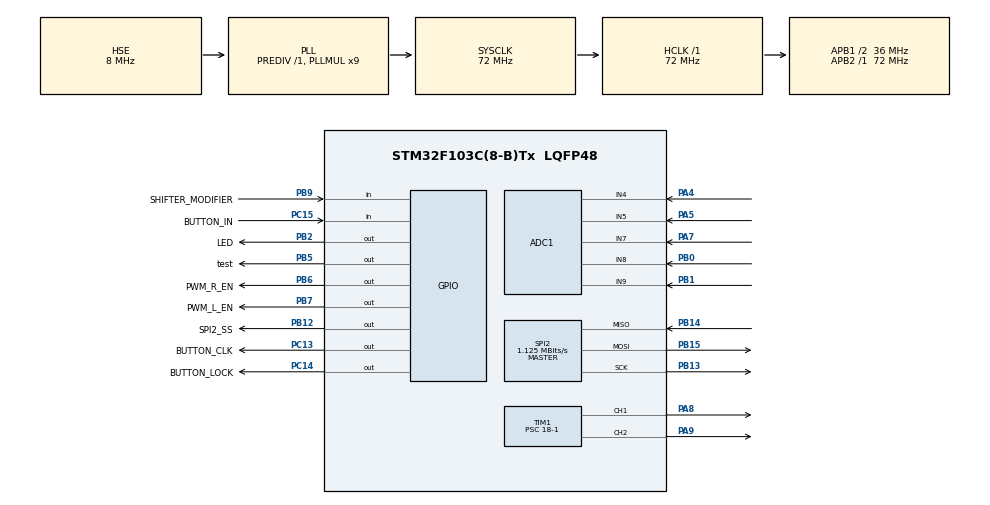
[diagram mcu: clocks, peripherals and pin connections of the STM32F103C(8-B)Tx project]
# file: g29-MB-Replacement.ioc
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ADC1.Channel-25\#ChannelRegularConversion=ADC_CHANNEL_7
ADC1.Channel-28\#ChannelRegularConversion=ADC_CHANNEL_8
ADC1.Channel-29\#ChannelRegularConversion=ADC_CHANNEL_9
ADC1.Channel-30\#ChannelRegularConversion=ADC_CHANNEL_4
ADC1.Channel-31\#ChannelRegularConversion=ADC_CHANNEL_5
ADC1.ContinuousConvMode=ENABLE
ADC1.DataAlign=ADC_DATAALIGN_LEFT
ADC1.EnableInjectedConversion=DISABLE
ADC1.ExternalTrigConv=ADC_SOFTWARE_START
ADC1.InjNumberOfConversion=2
ADC1.NbrOfConversion=5
ADC1.NbrOfConversionFlag=1
ADC1.Rank-25\#ChannelRegularConversion=1
ADC1.Rank-28\#ChannelRegularConversion=2
ADC1.Rank-29\#ChannelRegularConversion=3
ADC1.Rank-30\#ChannelRegularConversion=4
ADC1.Rank-31\#ChannelRegularConversion=5
ADC1.SamplingTime-25\#ChannelRegularConversion=ADC_SAMPLETIME_239CYCLES_5
ADC1.SamplingTime-28\#ChannelRegularConversion=ADC_SAMPLETIME_239CYCLES_5
ADC1.SamplingTime-29\#ChannelRegularConversion=ADC_SAMPLETIME_239CYCLES_5
ADC1.SamplingTime-30\#ChannelRegularConversion=ADC_SAMPLETIME_239CYCLES_5
ADC1.SamplingTime-31\#ChannelRegularConversion=ADC_SAMPLETIME_239CYCLES_5
ADC1.master=1
Dma.ADC1.2.Direction=DMA_PERIPH_TO_MEMORY
Dma.ADC1.2.Instance=DMA1_Channel1
Dma.ADC1.2.MemDataAlignment=DMA_MDATAALIGN_WORD
Dma.ADC1.2.MemInc=DMA_MINC_ENABLE
Dma.ADC1.2.Mode=DMA_CIRCULAR
Dma.ADC1.2.PeriphDataAlignment=DMA_PDATAALIGN_WORD
Dma.ADC1.2.PeriphInc=DMA_PINC_DISABLE
Dma.ADC1.2.Priority=DMA_PRIORITY_LOW
Dma.Request0=SPI2_RX
Dma.Request1=SPI2_TX
Dma.Request2=ADC1
Dma.SPI2_RX.0.Direction=DMA_PERIPH_TO_MEMORY
Dma.SPI2_RX.0.Instance=DMA1_Channel4
Dma.SPI2_RX.0.MemDataAlignment=DMA_MDATAALIGN_BYTE
Dma.SPI2_RX.0.MemInc=DMA_MINC_ENABLE
Dma.SPI2_RX.0.Mode=DMA_NORMAL
Dma.SPI2_RX.0.PeriphDataAlignment=DMA_PDATAALIGN_BYTE
Dma.SPI2_RX.0.PeriphInc=DMA_PINC_DISABLE
Dma.SPI2_RX.0.Priority=DMA_PRIORITY_HIGH
Dma.SPI2_TX.1.Direction=DMA_MEMORY_TO_PERIPH
Dma.SPI2_TX.1.Instance=DMA1_Channel5
Dma.SPI2_TX.1.MemDataAlignment=DMA_MDATAALIGN_BYTE
Dma.SPI2_TX.1.MemInc=DMA_MINC_ENABLE
Dma.SPI2_TX.1.Mode=DMA_NORMAL
Dma.SPI2_TX.1.PeriphDataAlignment=DMA_PDATAALIGN_BYTE
Dma.SPI2_TX.1.PeriphInc=DMA_PINC_DISABLE
Dma.SPI2_TX.1.Priority=DMA_PRIORITY_HIGH
Mcu.Family=STM32F1
Mcu.Name=STM32F103C(8-B)Tx
Mcu.Package=LQFP48
NVIC.DMA1_Channel1_IRQn=true\:10\:0\:true\:false\:true\:false\:true\:true
NVIC.DMA1_Channel4_IRQn=true\:3\:0\:true\:false\:true\:false\:true\:true
NVIC.DMA1_Channel5_IRQn=true\:3\:0\:true\:false\:true\:false\:true\:true
NVIC.PriorityGroup=NVIC_PRIORITYGROUP_4
NVIC.TIM3_IRQn=true\:6\:0\:true\:false\:true\:true\:true\:true
NVIC.TIM4_IRQn=true\:3\:0\:true\:false\:true\:true\:true\:true
PA11.GPIO_Label=USB_DM
PA11.Signal=USB_DM
PA12.GPIO_Label=USB_DP
PA12.Signal=USB_DP
PA13.Mode=Serial_Wire
PA13.Signal=SYS_JTMS-SWDIO
PA14.Mode=Serial_Wire
PA14.Signal=SYS_JTCK-SWCLK
PA4.Signal=ADCx_IN4
PA5.Signal=ADCx_IN5
PA7.Signal=ADCx_IN7
PA8.Signal=S_TIM1_CH1
PA9.Signal=S_TIM1_CH2
PB0.Signal=ADCx_IN8
PB1.Signal=ADCx_IN9
PB12.GPIO_Label=SPI2_SS
PB12.Signal=GPIO_Output
PB13.Mode=Full_Duplex_Master
PB13.Signal=SPI2_SCK
PB14.Mode=Full_Duplex_Master
PB14.Signal=SPI2_MISO
PB15.Mode=Full_Duplex_Master
PB15.Signal=SPI2_MOSI
PB2.GPIO_Label=LED
PB2.Signal=GPIO_Output
PB5.GPIO_Label=test
PB5.GPIO_Speed=GPIO_SPEED_FREQ_HIGH
PB5.Signal=GPIO_Output
PB6.GPIO_Label=PWM_R_EN
PB6.Signal=GPIO_Output
PB7.GPIO_Label=PWM_L_EN
PB7.Signal=GPIO_Output
PB9.GPIO_Label=SHIFTER_MODIFIER
PB9.GPIO_PuPd=GPIO_PULLDOWN
PB9.Signal=GPIO_Input
PC13-TAMPER-RTC.GPIO_Label=BUTTON_CLK
PC13-TAMPER-RTC.Signal=GPIO_Output
PC14-OSC32_IN.GPIO_Label=BUTTON_LOCK
PC14-OSC32_IN.Signal=GPIO_Output
PC15-OSC32_OUT.GPIO_Label=BUTTON_IN
PC15-OSC32_OUT.GPIO_PuPd=GPIO_PULLDOWN
PC15-OSC32_OUT.Signal=GPIO_Input
PD0-OSC_IN.Mode=HSE-External-Oscillator
PD0-OSC_IN.Signal=RCC_OSC_IN
PD1-OSC_OUT.Mode=HSE-External-Oscillator
PD1-OSC_OUT.Signal=RCC_OSC_OUT
ProjectManager.HeapSize=0x00
ProjectManager.StackSize=0x400
ProjectManager.TargetToolchain=STM32CubeIDE
RCC.ADCPresc=RCC_ADCPCLK2_DIV6
RCC.AHBFreq_Value=72000000
RCC.APB1CLKDivider=RCC_HCLK_DIV2
RCC.APB1Freq_Value=36000000
RCC.APB1TimFreq_Value=72000000
RCC.APB2Freq_Value=72000000
RCC.APB2TimFreq_Value=72000000
RCC.HCLKFreq_Value=72000000
RCC.PLLMUL=RCC_PLL_MUL9
RCC.PLLSourceVirtual=RCC_PLLSOURCE_HSE
RCC.SYSCLKFreq_VALUE=72000000
RCC.SYSCLKSource=RCC_SYSCLKSOURCE_PLLCLK
RCC.USBFreq_Value=48000000
RCC.USBPrescaler=RCC_USBCLKSOURCE_PLL_DIV1_5
SH.ADCx_IN4.0=ADC1_IN4,IN4
SH.ADCx_IN5.0=ADC1_IN5,IN5
SH.ADCx_IN7.0=ADC1_IN7,IN7
SH.ADCx_IN8.0=ADC1_IN8,IN8
SH.ADCx_IN9.0=ADC1_IN9,IN9
SH.S_TIM1_CH1.0=TIM1_CH1,PWM Generation1 CH1
SH.S_TIM1_CH2.0=TIM1_CH2,PWM Generation2 CH2
SPI2.BaudRatePrescaler=SPI_BAUDRATEPRESCALER_32
SPI2.CLKPhase=SPI_PHASE_2EDGE
SPI2.CalculateBaudRate=1.125 MBits/s
SPI2.Direction=SPI_DIRECTION_2LINES
SPI2.Mode=SPI_MODE_MASTER
SPI2.VirtualType=VM_MASTER
TIM1.Channel-PWM\ Generation1\ CH1=TIM_CHANNEL_1
TIM1.Channel-PWM\ Generation2\ CH2=TIM_CHANNEL_2
TIM1.Period=255-1
TIM1.Prescaler=18-1
TIM3.Period=1000
TIM3.Prescaler=72-1
TIM4.Period=1300
TIM4.Prescaler=72-1
VP_CRC_VS_CRC.Mode=CRC_Activate
VP_TIM1_VS_ClockSourceINT.Mode=Internal
VP_TIM3_VS_ClockSourceINT.Mode=Internal
VP_TIM4_VS_ClockSourceINT.Mode=Internal
board=custom

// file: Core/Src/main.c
/* USER CODE BEGIN Header */
/**
 ******************************************************************************
 * @file           : main.c
 * @brief          : Main program body
 ******************************************************************************
 * @attention
 *
 * Copyright (c) 2025 STMicroelectronics.
 * All rights reserved.
 *
 * This software is licensed under terms that can be found in the LICENSE file
 * in the root directory of this software component.
 * If no LICENSE file comes with this software, it is provided AS-IS.
 *
 ******************************************************************************
 */
/* USER CODE END Header */
#include "main.h"

/* USER CODE BEGIN Includes */
#include "wheel_def.h"
#include "wheel_log.h"
#include <stdio.h>
/* USER CODE END Includes */

ADC_HandleTypeDef hadc1;
DMA_HandleTypeDef hdma_adc1;

CRC_HandleTypeDef hcrc;

SPI_HandleTypeDef hspi2;
DMA_HandleTypeDef hdma_spi2_rx;
DMA_HandleTypeDef hdma_spi2_tx;

TIM_HandleTypeDef htim1;
TIM_HandleTypeDef htim3;
TIM_HandleTypeDef htim4;

/* USER CODE BEGIN PV */
extern uint32_t _estack;
/* USER CODE END PV */

void SystemClock_Config(void);
static void MX_GPIO_Init(void);
static void MX_DMA_Init(void);
static void MX_SPI2_Init(void);
static void MX_TIM4_Init(void);
static void MX_ADC1_Init(void);
static void MX_TIM3_Init(void);
static void MX_TIM1_Init(void);
static void MX_CRC_Init(void);
/* USER CODE BEGIN PFP */
extern void initialise_monitor_handles(void);
/* USER CODE END PFP */

int main(void)
{

  /* MCU Configuration--------------------------------------------------------*/

  /* Reset of all peripherals, Initializes the Flash interface and the Systick. */
  HAL_Init();

  /* Configure the system clock */
  SystemClock_Config();

  /* USER CODE BEGIN SysInit */
#ifdef DEBUG
  HAL_Delay(100);
  initialise_monitor_handles();
#endif
  /* USER CODE END SysInit */

  /* Initialize all configured peripherals */
  MX_GPIO_Init();
  MX_DMA_Init();
  MX_SPI2_Init();
  MX_TIM4_Init();
  MX_ADC1_Init();
  MX_TIM3_Init();
  MX_TIM1_Init();
  MX_CRC_Init();
  /* USER CODE BEGIN 2 */
  HAL_GPIO_WritePin(LED_GPIO_Port, LED_Pin, 1);
  wheel_startup();
  /* USER CODE END 2 */

  /* Infinite loop */
  /* USER CODE BEGIN WHILE */
  while (1) {
    wheel_task();
    /* USER CODE END WHILE */

  }
}

void SystemClock_Config(void)
{
  RCC_OscInitTypeDef RCC_OscInitStruct = {0};
  RCC_ClkInitTypeDef RCC_ClkInitStruct = {0};
  RCC_PeriphCLKInitTypeDef PeriphClkInit = {0};

  /** Initializes the RCC Oscillators according to the specified parameters
  * in the RCC_OscInitTypeDef structure.
  */
  RCC_OscInitStruct.OscillatorType = RCC_OSCILLATORTYPE_HSE;
  RCC_OscInitStruct.HSEState = RCC_HSE_ON;
  RCC_OscInitStruct.HSEPredivValue = RCC_HSE_PREDIV_DIV1;
  RCC_OscInitStruct.HSIState = RCC_HSI_ON;
  RCC_OscInitStruct.PLL.PLLState = RCC_PLL_ON;
  RCC_OscInitStruct.PLL.PLLSource = RCC_PLLSOURCE_HSE;
  RCC_OscInitStruct.PLL.PLLMUL = RCC_PLL_MUL9;
  if (HAL_RCC_OscConfig(&RCC_OscInitStruct) != HAL_OK)
  {
    Error_Handler();
  }

  /** Initializes the CPU, AHB and APB buses clocks
  */
  RCC_ClkInitStruct.ClockType = RCC_CLOCKTYPE_HCLK|RCC_CLOCKTYPE_SYSCLK
                              |RCC_CLOCKTYPE_PCLK1|RCC_CLOCKTYPE_PCLK2;
  RCC_ClkInitStruct.SYSCLKSource = RCC_SYSCLKSOURCE_PLLCLK;
  RCC_ClkInitStruct.AHBCLKDivider = RCC_SYSCLK_DIV1;
  RCC_ClkInitStruct.APB1CLKDivider = RCC_HCLK_DIV2;
  RCC_ClkInitStruct.APB2CLKDivider = RCC_HCLK_DIV1;

  if (HAL_RCC_ClockConfig(&RCC_ClkInitStruct, FLASH_LATENCY_2) != HAL_OK)
  {
    Error_Handler();
  }
  PeriphClkInit.PeriphClockSelection = RCC_PERIPHCLK_ADC;
  PeriphClkInit.AdcClockSelection = RCC_ADCPCLK2_DIV6;
  if (HAL_RCCEx_PeriphCLKConfig(&PeriphClkInit) != HAL_OK)
  {
    Error_Handler();
  }
}

static void MX_ADC1_Init(void)
{

  ADC_ChannelConfTypeDef sConfig = {0};

  /** Common config
  */
  hadc1.Instance = ADC1;
  hadc1.Init.ScanConvMode = ADC_SCAN_ENABLE;
  hadc1.Init.ContinuousConvMode = ENABLE;
  hadc1.Init.DiscontinuousConvMode = DISABLE;
  hadc1.Init.ExternalTrigConv = ADC_SOFTWARE_START;
  hadc1.Init.DataAlign = ADC_DATAALIGN_LEFT;
  hadc1.Init.NbrOfConversion = 5;
  if (HAL_ADC_Init(&hadc1) != HAL_OK)
  {
    Error_Handler();
  }

  /** Configure Regular Channel
  */
  sConfig.Channel = ADC_CHANNEL_7;
  sConfig.Rank = ADC_REGULAR_RANK_1;
  sConfig.SamplingTime = ADC_SAMPLETIME_239CYCLES_5;
  if (HAL_ADC_ConfigChannel(&hadc1, &sConfig) != HAL_OK)
  {
    Error_Handler();
  }

  /** Configure Regular Channel
  */
  sConfig.Channel = ADC_CHANNEL_8;
  sConfig.Rank = ADC_REGULAR_RANK_2;
  if (HAL_ADC_ConfigChannel(&hadc1, &sConfig) != HAL_OK)
  {
    Error_Handler();
  }

  /** Configure Regular Channel
  */
  sConfig.Channel = ADC_CHANNEL_9;
  sConfig.Rank = ADC_REGULAR_RANK_3;
  if (HAL_ADC_ConfigChannel(&hadc1, &sConfig) != HAL_OK)
  {
    Error_Handler();
  }

  /** Configure Regular Channel
  */
  sConfig.Channel = ADC_CHANNEL_4;
  sConfig.Rank = ADC_REGULAR_RANK_4;
  if (HAL_ADC_ConfigChannel(&hadc1, &sConfig) != HAL_OK)
  {
    Error_Handler();
  }

  /** Configure Regular Channel
  */
  sConfig.Channel = ADC_CHANNEL_5;
  sConfig.Rank = ADC_REGULAR_RANK_5;
  if (HAL_ADC_ConfigChannel(&hadc1, &sConfig) != HAL_OK)
  {
    Error_Handler();
  }

}

static void MX_CRC_Init(void)
{

  hcrc.Instance = CRC;
  if (HAL_CRC_Init(&hcrc) != HAL_OK)
  {
    Error_Handler();
  }

}

static void MX_SPI2_Init(void)
{

  /* SPI2 parameter configuration*/
  hspi2.Instance = SPI2;
  hspi2.Init.Mode = SPI_MODE_MASTER;
  hspi2.Init.Direction = SPI_DIRECTION_2LINES;
  hspi2.Init.DataSize = SPI_DATASIZE_8BIT;
  hspi2.Init.CLKPolarity = SPI_POLARITY_LOW;
  hspi2.Init.CLKPhase = SPI_PHASE_2EDGE;
  hspi2.Init.NSS = SPI_NSS_SOFT;
  hspi2.Init.BaudRatePrescaler = SPI_BAUDRATEPRESCALER_32;
  hspi2.Init.FirstBit = SPI_FIRSTBIT_MSB;
  hspi2.Init.TIMode = SPI_TIMODE_DISABLE;
  hspi2.Init.CRCCalculation = SPI_CRCCALCULATION_DISABLE;
  hspi2.Init.CRCPolynomial = 10;
  if (HAL_SPI_Init(&hspi2) != HAL_OK)
  {
    Error_Handler();
  }

}

static void MX_TIM1_Init(void)
{

  TIM_ClockConfigTypeDef sClockSourceConfig = {0};
  TIM_MasterConfigTypeDef sMasterConfig = {0};
  TIM_OC_InitTypeDef sConfigOC = {0};
  TIM_BreakDeadTimeConfigTypeDef sBreakDeadTimeConfig = {0};

  htim1.Instance = TIM1;
  htim1.Init.Prescaler = 18-1;
  htim1.Init.CounterMode = TIM_COUNTERMODE_UP;
  htim1.Init.Period = 255-1;
  htim1.Init.ClockDivision = TIM_CLOCKDIVISION_DIV1;
  htim1.Init.RepetitionCounter = 0;
  htim1.Init.AutoReloadPreload = TIM_AUTORELOAD_PRELOAD_DISABLE;
  if (HAL_TIM_Base_Init(&htim1) != HAL_OK)
  {
    Error_Handler();
  }
  sClockSourceConfig.ClockSource = TIM_CLOCKSOURCE_INTERNAL;
  if (HAL_TIM_ConfigClockSource(&htim1, &sClockSourceConfig) != HAL_OK)
  {
    Error_Handler();
  }
  if (HAL_TIM_PWM_Init(&htim1) != HAL_OK)
  {
    Error_Handler();
  }
  sMasterConfig.MasterOutputTrigger = TIM_TRGO_RESET;
  sMasterConfig.MasterSlaveMode = TIM_MASTERSLAVEMODE_DISABLE;
  if (HAL_TIMEx_MasterConfigSynchronization(&htim1, &sMasterConfig) != HAL_OK)
  {
    Error_Handler();
  }
  sConfigOC.OCMode = TIM_OCMODE_PWM1;
  sConfigOC.Pulse = 0;
  sConfigOC.OCPolarity = TIM_OCPOLARITY_HIGH;
  sConfigOC.OCNPolarity = TIM_OCNPOLARITY_HIGH;
  sConfigOC.OCFastMode = TIM_OCFAST_DISABLE;
  sConfigOC.OCIdleState = TIM_OCIDLESTATE_RESET;
  sConfigOC.OCNIdleState = TIM_OCNIDLESTATE_RESET;
  if (HAL_TIM_PWM_ConfigChannel(&htim1, &sConfigOC, TIM_CHANNEL_1) != HAL_OK)
  {
    Error_Handler();
  }
  if (HAL_TIM_PWM_ConfigChannel(&htim1, &sConfigOC, TIM_CHANNEL_2) != HAL_OK)
  {
    Error_Handler();
  }
  sBreakDeadTimeConfig.OffStateRunMode = TIM_OSSR_DISABLE;
  sBreakDeadTimeConfig.OffStateIDLEMode = TIM_OSSI_DISABLE;
  sBreakDeadTimeConfig.LockLevel = TIM_LOCKLEVEL_OFF;
  sBreakDeadTimeConfig.DeadTime = 0;
  sBreakDeadTimeConfig.BreakState = TIM_BREAK_DISABLE;
  sBreakDeadTimeConfig.BreakPolarity = TIM_BREAKPOLARITY_HIGH;
  sBreakDeadTimeConfig.AutomaticOutput = TIM_AUTOMATICOUTPUT_DISABLE;
  if (HAL_TIMEx_ConfigBreakDeadTime(&htim1, &sBreakDeadTimeConfig) != HAL_OK)
  {
    Error_Handler();
  }
  HAL_TIM_MspPostInit(&htim1);

}

static void MX_TIM3_Init(void)
{

  TIM_ClockConfigTypeDef sClockSourceConfig = {0};
  TIM_MasterConfigTypeDef sMasterConfig = {0};

  htim3.Instance = TIM3;
  htim3.Init.Prescaler = 72-1;
  htim3.Init.CounterMode = TIM_COUNTERMODE_UP;
  htim3.Init.Period = 1000;
  htim3.Init.ClockDivision = TIM_CLOCKDIVISION_DIV1;
  htim3.Init.AutoReloadPreload = TIM_AUTORELOAD_PRELOAD_DISABLE;
  if (HAL_TIM_Base_Init(&htim3) != HAL_OK)
  {
    Error_Handler();
  }
  sClockSourceConfig.ClockSource = TIM_CLOCKSOURCE_INTERNAL;
  if (HAL_TIM_ConfigClockSource(&htim3, &sClockSourceConfig) != HAL_OK)
  {
    Error_Handler();
  }
  sMasterConfig.MasterOutputTrigger = TIM_TRGO_RESET;
  sMasterConfig.MasterSlaveMode = TIM_MASTERSLAVEMODE_DISABLE;
  if (HAL_TIMEx_MasterConfigSynchronization(&htim3, &sMasterConfig) != HAL_OK)
  {
    Error_Handler();
  }
  /* USER CODE BEGIN TIM3_Init 2 */
  htim3.Init.Period = SAMPLE_TIME_US;
  if (HAL_TIM_Base_Init(&htim3) != HAL_OK) {
    Error_Handler();
  }
  /* USER CODE END TIM3_Init 2 */

}

static void MX_TIM4_Init(void)
{

  TIM_ClockConfigTypeDef sClockSourceConfig = {0};
  TIM_MasterConfigTypeDef sMasterConfig = {0};

  htim4.Instance = TIM4;
  htim4.Init.Prescaler = 72-1;
  htim4.Init.CounterMode = TIM_COUNTERMODE_UP;
  htim4.Init.Period = 1300;
  htim4.Init.ClockDivision = TIM_CLOCKDIVISION_DIV1;
  htim4.Init.AutoReloadPreload = TIM_AUTORELOAD_PRELOAD_DISABLE;
  if (HAL_TIM_Base_Init(&htim4) != HAL_OK)
  {
    Error_Handler();
  }
  sClockSourceConfig.ClockSource = TIM_CLOCKSOURCE_INTERNAL;
  if (HAL_TIM_ConfigClockSource(&htim4, &sClockSourceConfig) != HAL_OK)
  {
    Error_Handler();
  }
  sMasterConfig.MasterOutputTrigger = TIM_TRGO_RESET;
  sMasterConfig.MasterSlaveMode = TIM_MASTERSLAVEMODE_DISABLE;
  if (HAL_TIMEx_MasterConfigSynchronization(&htim4, &sMasterConfig) != HAL_OK)
  {
    Error_Handler();
  }

}

static void MX_DMA_Init(void)
{

  /* DMA controller clock enable */
  __HAL_RCC_DMA1_CLK_ENABLE();

  /* DMA interrupt init */
  /* DMA1_Channel1_IRQn interrupt configuration */
  HAL_NVIC_SetPriority(DMA1_Channel1_IRQn, 10, 0);
  HAL_NVIC_EnableIRQ(DMA1_Channel1_IRQn);
  /* DMA1_Channel4_IRQn interrupt configuration */
  HAL_NVIC_SetPriority(DMA1_Channel4_IRQn, 3, 0);
  HAL_NVIC_EnableIRQ(DMA1_Channel4_IRQn);
  /* DMA1_Channel5_IRQn interrupt configuration */
  HAL_NVIC_SetPriority(DMA1_Channel5_IRQn, 3, 0);
  HAL_NVIC_EnableIRQ(DMA1_Channel5_IRQn);

}

static void MX_GPIO_Init(void)
{
  GPIO_InitTypeDef GPIO_InitStruct = {0};

  /* GPIO Ports Clock Enable */
  __HAL_RCC_GPIOC_CLK_ENABLE();
  __HAL_RCC_GPIOD_CLK_ENABLE();
  __HAL_RCC_GPIOA_CLK_ENABLE();
  __HAL_RCC_GPIOB_CLK_ENABLE();

  /*Configure GPIO pin Output Level */
  HAL_GPIO_WritePin(GPIOC, BUTTON_CLK_Pin|BUTTON_LOCK_Pin, GPIO_PIN_RESET);

  /*Configure GPIO pin Output Level */
  HAL_GPIO_WritePin(GPIOB, LED_Pin|SPI2_SS_Pin|test_Pin|PWM_R_EN_Pin
                          |PWM_L_EN_Pin, GPIO_PIN_RESET);

  /*Configure GPIO pins : BUTTON_CLK_Pin BUTTON_LOCK_Pin */
  GPIO_InitStruct.Pin = BUTTON_CLK_Pin|BUTTON_LOCK_Pin;
  GPIO_InitStruct.Mode = GPIO_MODE_OUTPUT_PP;
  GPIO_InitStruct.Pull = GPIO_NOPULL;
  GPIO_InitStruct.Speed = GPIO_SPEED_FREQ_LOW;
  HAL_GPIO_Init(GPIOC, &GPIO_InitStruct);

  /*Configure GPIO pin : BUTTON_IN_Pin */
  GPIO_InitStruct.Pin = BUTTON_IN_Pin;
  GPIO_InitStruct.Mode = GPIO_MODE_INPUT;
  GPIO_InitStruct.Pull = GPIO_PULLDOWN;
  HAL_GPIO_Init(BUTTON_IN_GPIO_Port, &GPIO_InitStruct);

  /*Configure GPIO pins : LED_Pin SPI2_SS_Pin PWM_R_EN_Pin PWM_L_EN_Pin */
  GPIO_InitStruct.Pin = LED_Pin|SPI2_SS_Pin|PWM_R_EN_Pin|PWM_L_EN_Pin;
  GPIO_InitStruct.Mode = GPIO_MODE_OUTPUT_PP;
  GPIO_InitStruct.Pull = GPIO_NOPULL;
  GPIO_InitStruct.Speed = GPIO_SPEED_FREQ_LOW;
  HAL_GPIO_Init(GPIOB, &GPIO_InitStruct);

  /*Configure GPIO pin : test_Pin */
  GPIO_InitStruct.Pin = test_Pin;
  GPIO_InitStruct.Mode = GPIO_MODE_OUTPUT_PP;
  GPIO_InitStruct.Pull = GPIO_NOPULL;
  GPIO_InitStruct.Speed = GPIO_SPEED_FREQ_HIGH;
  HAL_GPIO_Init(test_GPIO_Port, &GPIO_InitStruct);

  /*Configure GPIO pin : SHIFTER_MODIFIER_Pin */
  GPIO_InitStruct.Pin = SHIFTER_MODIFIER_Pin;
  GPIO_InitStruct.Mode = GPIO_MODE_INPUT;
  GPIO_InitStruct.Pull = GPIO_PULLDOWN;
  HAL_GPIO_Init(SHIFTER_MODIFIER_GPIO_Port, &GPIO_InitStruct);

}

void Error_Handler(void)
{
  /* USER CODE BEGIN Error_Handler_Debug */
  // Dump and reset (wheel_fatal.c): its trace names the init that failed
  WHEEL_FATAL_ERROR(WHEEL_ERR_HAL);
  /* USER CODE END Error_Handler_Debug */
}
